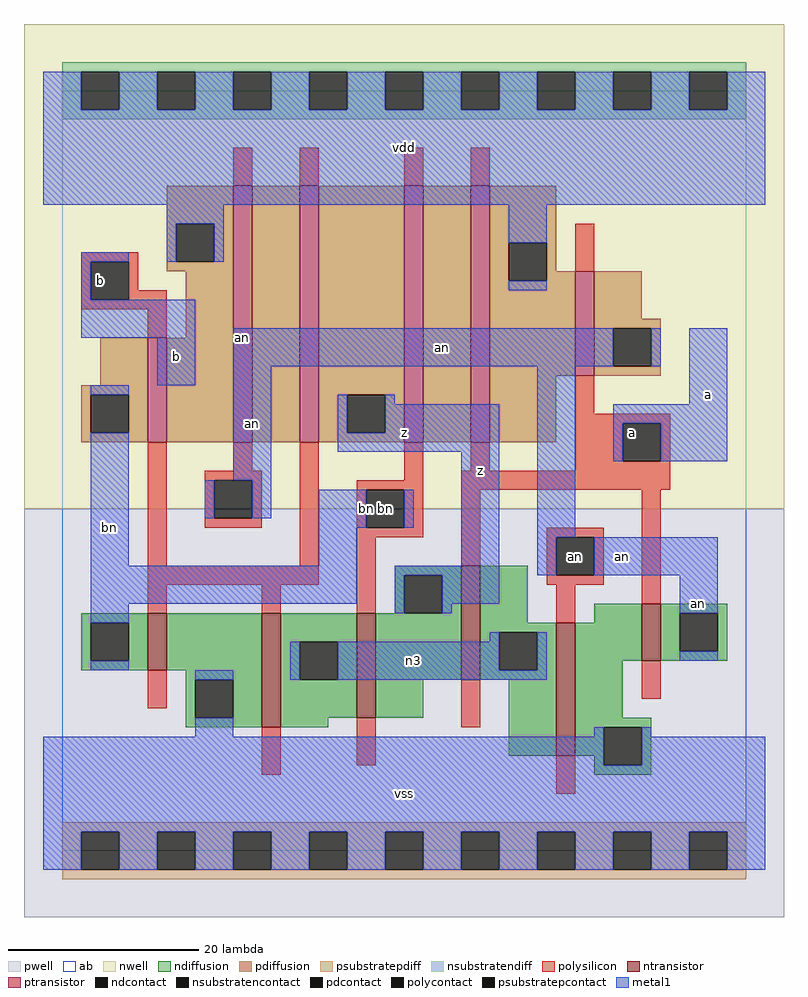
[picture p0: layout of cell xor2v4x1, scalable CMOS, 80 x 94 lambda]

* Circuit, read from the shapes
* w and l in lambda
.subckt xor2v4x1 a an b bn n3 vdd vss z
M1 vss b bn vss nfet w=6 l=2
M2 n3 b vss vss nfet w=12 l=2
M3 z bn n3 vss nfet w=11 l=2
M4 n3 a z vss nfet w=12 l=2
M5 vss an n3 vss nfet w=14 l=2
M6 an a vss vss nfet w=6 l=2
M7 vdd b bn vdd pfet w=11 l=2
M8 n1 an vdd vdd pfet w=27 l=2
M9 z b n1 vdd pfet w=27 l=2
M10 n2 bn z vdd pfet w=27 l=2
M11 vdd a n2 vdd pfet w=27 l=2
M12 an a vdd vdd pfet w=11 l=2
.ends

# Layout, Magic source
magic
tech scmos
<< ab >>
rect 0 0 72 80
<< pwell >>
rect -4 -7 76 36
<< nwell >>
rect -4 36 76 87
<< polysilicon >>
rect 18 70 20 74
rect 25 70 27 74
rect 36 70 38 74
rect 43 70 45 74
rect 2 62 8 63
rect 2 58 3 62
rect 7 59 8 62
rect 7 58 11 59
rect 2 57 11 58
rect 9 54 11 57
rect 54 61 56 66
rect 54 46 56 50
rect 54 45 64 46
rect 9 30 11 43
rect 18 40 20 43
rect 15 39 21 40
rect 15 35 16 39
rect 20 35 21 39
rect 15 34 21 35
rect 25 30 27 43
rect 36 39 38 43
rect 43 40 45 43
rect 54 41 59 45
rect 63 41 64 45
rect 54 40 64 41
rect 9 28 27 30
rect 31 38 38 39
rect 31 34 32 38
rect 36 34 38 38
rect 31 33 38 34
rect 42 38 64 40
rect 9 25 11 28
rect 21 25 23 28
rect 31 25 33 33
rect 42 30 44 38
rect 51 33 57 34
rect 9 15 11 19
rect 51 29 52 33
rect 56 29 57 33
rect 51 28 57 29
rect 52 24 54 28
rect 61 26 63 38
rect 21 8 23 13
rect 31 9 33 14
rect 42 13 44 18
rect 61 16 63 20
rect 52 6 54 10
<< ndiffusion >>
rect 35 29 42 30
rect 35 25 36 29
rect 40 25 42 29
rect 2 24 9 25
rect 2 20 3 24
rect 7 20 9 24
rect 2 19 9 20
rect 11 19 21 25
rect 13 18 21 19
rect 13 14 14 18
rect 18 14 21 18
rect 13 13 21 14
rect 23 22 31 25
rect 23 18 25 22
rect 29 18 31 22
rect 23 14 31 18
rect 33 18 42 25
rect 44 24 49 30
rect 56 24 61 26
rect 44 23 52 24
rect 44 19 46 23
rect 50 19 52 23
rect 44 18 52 19
rect 33 14 38 18
rect 23 13 28 14
rect 47 10 52 18
rect 54 20 61 24
rect 63 25 70 26
rect 63 21 65 25
rect 69 21 70 25
rect 63 20 70 21
rect 54 14 59 20
rect 54 13 62 14
rect 54 10 57 13
rect 56 9 57 10
rect 61 9 62 13
rect 56 8 62 9
<< pdiffusion >>
rect 11 66 18 70
rect 11 62 12 66
rect 16 62 18 66
rect 11 61 18 62
rect 13 54 18 61
rect 4 49 9 54
rect 2 48 9 49
rect 2 44 3 48
rect 7 44 9 48
rect 2 43 9 44
rect 11 43 18 54
rect 20 43 25 70
rect 27 48 36 70
rect 27 44 30 48
rect 34 44 36 48
rect 27 43 36 44
rect 38 43 43 70
rect 45 64 52 70
rect 45 60 47 64
rect 51 61 52 64
rect 51 60 54 61
rect 45 50 54 60
rect 56 56 61 61
rect 56 55 63 56
rect 56 51 58 55
rect 62 51 63 55
rect 56 50 63 51
rect 45 43 52 50
<< metal1 >>
rect -2 78 2 82
rect 6 78 10 82
rect 14 78 18 82
rect 22 78 26 82
rect 30 78 34 82
rect 38 78 42 82
rect 46 78 50 82
rect 54 78 58 82
rect 62 78 66 82
rect 70 78 74 82
rect -2 68 74 78
rect 11 66 17 68
rect 2 62 7 63
rect 11 62 12 66
rect 16 62 17 66
rect 47 64 51 68
rect 2 58 3 62
rect 47 59 51 60
rect 2 54 14 58
rect 10 49 14 54
rect 18 51 58 55
rect 62 51 63 55
rect 3 48 7 49
rect 3 30 7 44
rect 18 39 22 51
rect 29 44 30 48
rect 34 47 35 48
rect 34 44 46 47
rect 29 42 46 44
rect 15 35 16 39
rect 20 35 22 39
rect 27 34 32 38
rect 36 34 37 38
rect 27 30 31 34
rect 42 30 46 42
rect 3 26 31 30
rect 35 29 46 30
rect 50 33 54 51
rect 66 47 70 55
rect 58 45 70 47
rect 58 41 59 45
rect 63 41 70 45
rect 50 29 52 33
rect 56 29 69 33
rect 3 24 7 26
rect 35 25 36 29
rect 40 26 46 29
rect 40 25 41 26
rect 65 25 69 29
rect 45 22 46 23
rect 3 19 7 20
rect 14 18 18 19
rect 24 18 25 22
rect 29 19 46 22
rect 50 19 51 23
rect 65 20 69 21
rect 29 18 51 19
rect 14 12 18 14
rect 56 12 57 13
rect -2 9 57 12
rect 61 12 62 13
rect 61 9 74 12
rect -2 2 74 9
rect -2 -2 2 2
rect 6 -2 10 2
rect 14 -2 18 2
rect 22 -2 26 2
rect 30 -2 34 2
rect 38 -2 42 2
rect 46 -2 50 2
rect 54 -2 58 2
rect 62 -2 66 2
rect 70 -2 74 2
<< ntransistor >>
rect 9 19 11 25
rect 21 13 23 25
rect 31 14 33 25
rect 42 18 44 30
rect 52 10 54 24
rect 61 20 63 26
<< ptransistor >>
rect 9 43 11 54
rect 18 43 20 70
rect 25 43 27 70
rect 36 43 38 70
rect 43 43 45 70
rect 54 50 56 61
<< polycontact >>
rect 3 58 7 62
rect 16 35 20 39
rect 59 41 63 45
rect 32 34 36 38
rect 52 29 56 33
<< ndcontact >>
rect 36 25 40 29
rect 3 20 7 24
rect 14 14 18 18
rect 25 18 29 22
rect 46 19 50 23
rect 65 21 69 25
rect 57 9 61 13
<< pdcontact >>
rect 12 62 16 66
rect 3 44 7 48
rect 30 44 34 48
rect 47 60 51 64
rect 58 51 62 55
<< psubstratepcontact >>
rect 2 -2 6 2
rect 10 -2 14 2
rect 18 -2 22 2
rect 26 -2 30 2
rect 34 -2 38 2
rect 42 -2 46 2
rect 50 -2 54 2
rect 58 -2 62 2
rect 66 -2 70 2
<< nsubstratencontact >>
rect 2 78 6 82
rect 10 78 14 82
rect 18 78 22 82
rect 26 78 30 82
rect 34 78 38 82
rect 42 78 46 82
rect 50 78 54 82
rect 58 78 62 82
rect 66 78 70 82
<< psubstratepdiff >>
rect 0 2 72 3
rect 0 -2 2 2
rect 6 -2 10 2
rect 14 -2 18 2
rect 22 -2 26 2
rect 30 -2 34 2
rect 38 -2 42 2
rect 46 -2 50 2
rect 54 -2 58 2
rect 62 -2 66 2
rect 70 -2 72 2
rect 0 -3 72 -2
<< nsubstratendiff >>
rect 0 82 72 83
rect 0 78 2 82
rect 6 78 10 82
rect 14 78 18 82
rect 22 78 26 82
rect 30 78 34 82
rect 38 78 42 82
rect 46 78 50 82
rect 54 78 58 82
rect 62 78 66 82
rect 70 78 72 82
rect 0 77 72 78
<< labels >>
rlabel ptransistor 19 54 19 54 6 an
rlabel polycontact 34 36 34 36 6 bn
rlabel polycontact 54 31 54 31 6 an
rlabel metal1 5 34 5 34 6 bn
rlabel polycontact 4 60 4 60 6 b
rlabel metal1 20 45 20 45 6 an
rlabel metal1 12 52 12 52 6 b
rlabel metal1 36 6 36 6 6 vss
rlabel metal1 32 36 32 36 6 bn
rlabel metal1 36 44 36 44 6 z
rlabel metal1 36 74 36 74 6 vdd
rlabel metal1 37 20 37 20 6 n3
rlabel metal1 44 40 44 40 6 z
rlabel metal1 67 26 67 26 6 an
rlabel metal1 59 31 59 31 6 an
rlabel polycontact 60 44 60 44 6 a
rlabel metal1 68 48 68 48 6 a
rlabel metal1 40 53 40 53 6 an
<< end >>
